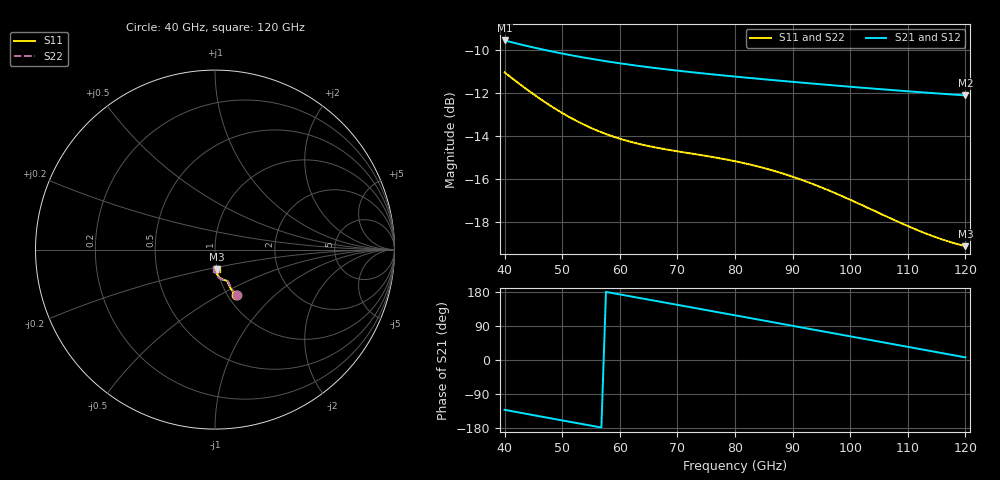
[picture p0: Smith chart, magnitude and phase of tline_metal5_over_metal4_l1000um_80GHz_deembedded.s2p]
! Created with skrf 2.0.1 (http://scikit-rf.org).
# GHz S DB R 50.0
!freq dBS11 angS11 dBS21 angS21 dBS12 angS12 dBS22 angS22
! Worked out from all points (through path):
!   101 points, 40 GHz to 120 GHz, reference 50 ohm
!   highest |S21| = -9.57 dB at 40 GHz (marker M1); lowest = -12.1 dB at 120 GHz (marker M2)
!   group delay of S21, straight-line fit = 7.68 ps
!   lowest |S11| = -19.1 dB at 120 GHz (marker M3), VSWR 1.25, Z = 49.8 - j11.1 ohm
!   |S11| at or under -10 dB: start of sweep to end of sweep
!   |S22| runs from -19.3 to -11.1 dB; largest |S21 - S12| = 4.3e-15
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40  -11.05 -65.1  -9.57 -131.4  -9.57 -131.4  -11.08 -64.4
43.2  -11.71 -66.6  -9.78 -140.5  -9.78 -140.5  -11.74 -65.9
46.4  -12.32 -67.7  -9.98 -149.4  -9.98 -149.4  -12.34 -66.8
49.6  -12.87 -68.2  -10.15 -158.3  -10.15 -158.3  -12.88 -67.3
53.6  -13.45 -68.5  -10.35 -169.4  -10.35 -169.4  -13.45 -67.5
56.8  -13.82 -68.6  -10.50 -178.2  -10.50 -178.2  -13.80 -67.6
60  -14.12 -68.6  -10.63 173.1  -10.63 173.1  -14.09 -67.6
63.2  -14.36 -68.8  -10.75 164.3  -10.75 164.3  -14.30 -67.9
67.2  -14.58 -69.4  -10.88 153.3  -10.88 153.3  -14.51 -68.6
73.6  -14.86 -71.3  -11.07 135.6  -11.07 135.6  -14.77 -70.7
76.8  -15.00 -72.7  -11.16 126.8  -11.16 126.8  -14.90 -72.2
80  -15.17 -74.2  -11.24 117.9  -11.24 117.9  -15.06 -74.0
84  -15.41 -76.4  -11.34 106.8  -11.34 106.8  -15.30 -76.4
87.2  -15.65 -78.2  -11.42 98.0  -11.42 98.0  -15.54 -78.4
90.4  -15.92 -80.0  -11.50 89.1  -11.50 89.1  -15.81 -80.4
93.6  -16.23 -81.7  -11.57 80.2  -11.57 80.2  -16.13 -82.4
96.8  -16.58 -83.2  -11.64 71.3  -11.64 71.3  -16.49 -84.2
100  -16.95 -84.5  -11.71 62.4  -11.71 62.4  -16.87 -85.7
107.2  -17.84 -86.1  -11.87 42.5  -11.87 42.5  -17.81 -88.1
113.6  -18.56 -85.9  -12.00 24.7  -12.00 24.7  -18.63 -88.6
116.8  -18.86 -85.4  -12.06 15.8  -12.06 15.8  -18.99 -88.4
120  -19.10 -84.7  -12.11 7.0  -12.11 7.0  -19.30 -87.9
